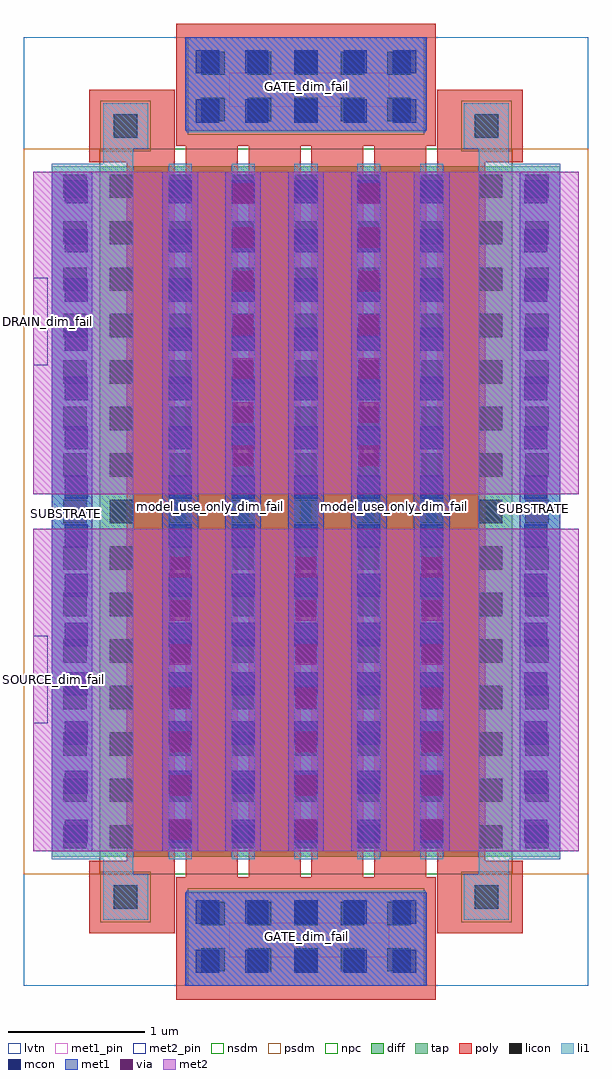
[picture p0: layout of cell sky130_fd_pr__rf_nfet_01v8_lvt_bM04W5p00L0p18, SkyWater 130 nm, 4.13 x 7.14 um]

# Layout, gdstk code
import gdstk
lib = gdstk.Library(unit=1e-6, precision=1e-09)
def R(c, l, rs):  # rectangles x0, y0, x1, y1
    for r in rs: c.add(gdstk.rectangle(r[:2], r[2:], *l))
def A(c, l, x, y, w, h, nx, ny, dx, dy):  # array of equal rectangles
    R(c, l, [(x+i*dx, y+j*dy, x+i*dx+w, y+j*dy+h) for i in range(nx) for j in range(ny)])
def P(c, l, *ps):  # polygons
    for p in ps: c.add(gdstk.Polygon(p, *l))
diff = (65, 20)
tap = (65, 44)
poly = (66, 20)
licon = (66, 44)
li1 = (67, 20)
mcon = (67, 44)
met1_pin = (68, 16)
met1 = (68, 20)
via = (68, 44)
met2_pin = (69, 16)
met2 = (69, 20)
nsdm = (93, 44)
psdm = (94, 20)
npc = (95, 20)
lvtn = (125, 44)

sky130_fd_pr__rf_nfet_01 = lib.new_cell('sky130_fd_pr__rf_nfet_01v8_lvt_bM04W5p00L0p18')
R(sky130_fd_pr__rf_nfet_01, diff, [(0.555,0.945,3.575,5.995)])
R(sky130_fd_pr__rf_nfet_01, tap, [(0.205,0.945,0.555,5.995), (3.575,0.945,3.925,5.995)])
P(sky130_fd_pr__rf_nfet_01, poly, [(0.48,0.385),(0.48,0.915),(0.755,0.915),(0.755,6.025),(0.48,6.025),(0.48,6.555),(1.105,6.555),(1.105,0.385)],
  [(3.025,0.385),(3.025,6.555),(3.65,6.555),(3.65,6.025),(3.375,6.025),(3.375,0.915),(3.65,0.915),(3.65,0.385)],
  [(1.115,-0.1),(1.115,0.795),(1.185,0.795),(1.185,6.145),(1.565,6.145),(1.565,0.795),(1.645,0.795),(1.645,6.145),(2.025,6.145),(2.025,0.795),(2.105,0.795),(2.105,6.145),(2.485,6.145),(2.485,0.795),(2.565,0.795),(2.565,6.145),(1.115,6.145),(1.115,7.04),(3.015,7.04),(3.015,6.145),(2.945,6.145),(2.945,0.795),(3.015,0.795),(3.015,-0.1)])
A(sky130_fd_pr__rf_nfet_01, licon, 1.3, 0.105, 0.17, 0.17, 5, 2, 0.34, 0.34)
A(sky130_fd_pr__rf_nfet_01, licon, 0.29, 1.005, 0.17, 0.17, 1, 15, 0, 0.34)
A(sky130_fd_pr__rf_nfet_01, licon, 0.63, 1.005, 0.17, 0.17, 1, 15, 0, 0.34)
A(sky130_fd_pr__rf_nfet_01, licon, 1.06, 1.005, 0.17, 0.17, 5, 15, 0.46, 0.34)
A(sky130_fd_pr__rf_nfet_01, licon, 3.33, 1.005, 0.17, 0.17, 1, 15, 0, 0.34)
A(sky130_fd_pr__rf_nfet_01, licon, 3.67, 1.005, 0.17, 0.17, 1, 15, 0, 0.34)
A(sky130_fd_pr__rf_nfet_01, licon, 1.3, 6.325, 0.17, 0.17, 5, 2, 0.34, 0.34)
R(sky130_fd_pr__rf_nfet_01, licon, [(0.66,0.565,0.83,0.735), (3.3,0.565,3.47,0.735), (0.66,6.205,0.83,6.375), (3.3,6.205,3.47,6.375)])
A(sky130_fd_pr__rf_nfet_01, li1, 1.06, 0.925, 0.17, 5.09, 5, 1, 0.46, 0)
A(sky130_fd_pr__rf_nfet_01, li1, 1.06, 2.125, 0.17, 2.69, 5, 1, 0.46, 0)
R(sky130_fd_pr__rf_nfet_01, li1, [(1.19,0,2.94,0.695), (0.58,0.485,0.91,0.815), (3.22,0.485,3.55,0.815), (0.58,0.815,0.8,0.925), (3.33,0.815,3.55,0.925), (0.205,0.925,0.8,6.015), (3.33,0.925,3.925,6.015), (0.32,1.045,0.49,5.895), (3.64,1.045,3.81,5.895), (0.58,6.015,0.8,6.125), (3.33,6.015,3.55,6.125), (0.58,6.125,0.91,6.455), (3.22,6.125,3.55,6.455), (1.19,6.245,2.94,6.94)])
A(sky130_fd_pr__rf_nfet_01, mcon, 1.26, 0.095, 0.17, 0.17, 5, 2, 0.36, 0.36)
A(sky130_fd_pr__rf_nfet_01, mcon, 0.3, 1.045, 0.17, 0.17, 1, 14, 0, 0.36)
A(sky130_fd_pr__rf_nfet_01, mcon, 1.06, 1.045, 0.17, 0.17, 5, 14, 0.46, 0.36)
A(sky130_fd_pr__rf_nfet_01, mcon, 3.66, 1.045, 0.17, 0.17, 1, 14, 0, 0.36)
A(sky130_fd_pr__rf_nfet_01, mcon, 1.26, 6.315, 0.17, 0.17, 5, 2, 0.36, 0.36)
R(sky130_fd_pr__rf_nfet_01, met1_pin, [(1.505,0.21,2.675,0.46), (0.205,3.375,0.5,3.525), (3.63,3.415,3.925,3.565), (1.505,6.43,2.675,6.68)])
A(sky130_fd_pr__rf_nfet_01, met1, 1.015, 0.985, 0.26, 2.24, 3, 1, 0.92, 0)
A(sky130_fd_pr__rf_nfet_01, met1, 1.015, 0.985, 0.26, 4.97, 5, 1, 0.46, 0)
R(sky130_fd_pr__rf_nfet_01, met1, [(1.18,0,2.95,0.685), (0.205,0.985,0.5,5.955), (3.63,0.985,3.925,5.955), (1.475,3.715,1.735,5.955), (2.395,3.715,2.655,5.955), (1.18,6.255,2.95,6.94)])
A(sky130_fd_pr__rf_nfet_01, via, 1.07, 1.07, 0.15, 0.15, 3, 7, 0.92, 0.32)
A(sky130_fd_pr__rf_nfet_01, via, 1.53, 3.8, 0.15, 0.15, 1, 7, 0, 0.32)
A(sky130_fd_pr__rf_nfet_01, via, 2.45, 3.8, 0.15, 0.15, 1, 7, 0, 0.32)
R(sky130_fd_pr__rf_nfet_01, met2_pin, [(0.07,1.92,0.175,2.56), (0.07,4.54,0.175,5.18)])
A(sky130_fd_pr__rf_nfet_01, met2, 1.015, 0.985, 0.26, 2.24, 3, 1, 0.92, 0)
R(sky130_fd_pr__rf_nfet_01, met2, [(0.07,0.985,4.06,3.345), (0.07,3.595,4.06,5.955), (1.475,3.715,1.735,5.955), (2.395,3.715,2.655,5.955)])
R(sky130_fd_pr__rf_nfet_01, nsdm, [(0.555,0.815,3.575,6.125)])
R(sky130_fd_pr__rf_nfet_01, psdm, [(0,0.815,0.555,6.125), (3.575,0.815,4.13,6.125)])
R(sky130_fd_pr__rf_nfet_01, npc, [(1.2,0,2.93,0.715), (0.56,0.465,0.93,0.835), (3.2,0.465,3.57,0.835), (0.56,6.105,0.93,6.475), (3.2,6.105,3.57,6.475), (1.2,6.225,2.93,6.94)])
R(sky130_fd_pr__rf_nfet_01, lvtn, [(0,0,4.13,6.94)])
sky130_fd_pr__rf_nfet_01.add(gdstk.Label('GATE_dim_fail', (2.065,6.58), layer=68, texttype=5))
sky130_fd_pr__rf_nfet_01.add(gdstk.Label('GATE_dim_fail', (2.065,0.36), layer=68, texttype=5))
sky130_fd_pr__rf_nfet_01.add(gdstk.Label('model_use_only_dim_fail', (1.365,3.505), layer=66, texttype=83))
sky130_fd_pr__rf_nfet_01.add(gdstk.Label('model_use_only_dim_fail', (1.825,3.505), layer=66, texttype=83))
sky130_fd_pr__rf_nfet_01.add(gdstk.Label('model_use_only_dim_fail', (2.255,3.505), layer=66, texttype=83))
sky130_fd_pr__rf_nfet_01.add(gdstk.Label('model_use_only_dim_fail', (2.715,3.505), layer=66, texttype=83))
sky130_fd_pr__rf_nfet_01.add(gdstk.Label('model_use_only_dim_fail', (3.19,3.47), layer=66, texttype=83))
sky130_fd_pr__rf_nfet_01.add(gdstk.Label('model_use_only_dim_fail', (0.915,3.47), layer=66, texttype=83))
sky130_fd_pr__rf_nfet_01.add(gdstk.Label('SUBSTRATE', (0.315,3.455), layer=68, texttype=16))
sky130_fd_pr__rf_nfet_01.add(gdstk.Label('SUBSTRATE', (3.74,3.495), layer=68, texttype=16))
sky130_fd_pr__rf_nfet_01.add(gdstk.Label('dummy_poly_dim_fail', (0.92,3.475), layer=83, texttype=44))
sky130_fd_pr__rf_nfet_01.add(gdstk.Label('dummy_poly_dim_fail', (3.185,3.465), layer=83, texttype=44))
sky130_fd_pr__rf_nfet_01.add(gdstk.Label('D_dim_fail', (1.635,3.47), layer=83, texttype=44))
sky130_fd_pr__rf_nfet_01.add(gdstk.Label('S_dim_fail', (1.205,3.47), layer=83, texttype=44))
sky130_fd_pr__rf_nfet_01.add(gdstk.Label('S_dim_fail', (2.495,3.47), layer=83, texttype=44))
sky130_fd_pr__rf_nfet_01.add(gdstk.Label('S_dim_fail', (2.065,3.47), layer=83, texttype=44))
sky130_fd_pr__rf_nfet_01.add(gdstk.Label('S_dim_fail', (1.635,3.47), layer=83, texttype=44))
sky130_fd_pr__rf_nfet_01.add(gdstk.Label('S_dim_fail', (1.205,3.47), layer=83, texttype=44))
sky130_fd_pr__rf_nfet_01.add(gdstk.Label('S_dim_fail', (2.925,3.47), layer=83, texttype=44))
sky130_fd_pr__rf_nfet_01.add(gdstk.Label('D_dim_fail', (2.495,3.47), layer=83, texttype=44))
sky130_fd_pr__rf_nfet_01.add(gdstk.Label('S_dim_fail', (2.065,3.47), layer=83, texttype=44))
sky130_fd_pr__rf_nfet_01.add(gdstk.Label('SOURCE_dim_fail', (0.175,2.24), layer=69, texttype=5))
sky130_fd_pr__rf_nfet_01.add(gdstk.Label('DRAIN_dim_fail', (0.175,4.86), layer=69, texttype=5))

lib.write_gds('sky130_fd_pr__rf_nfet_01v8_lvt_bM04W5p00L0p18.gds')
